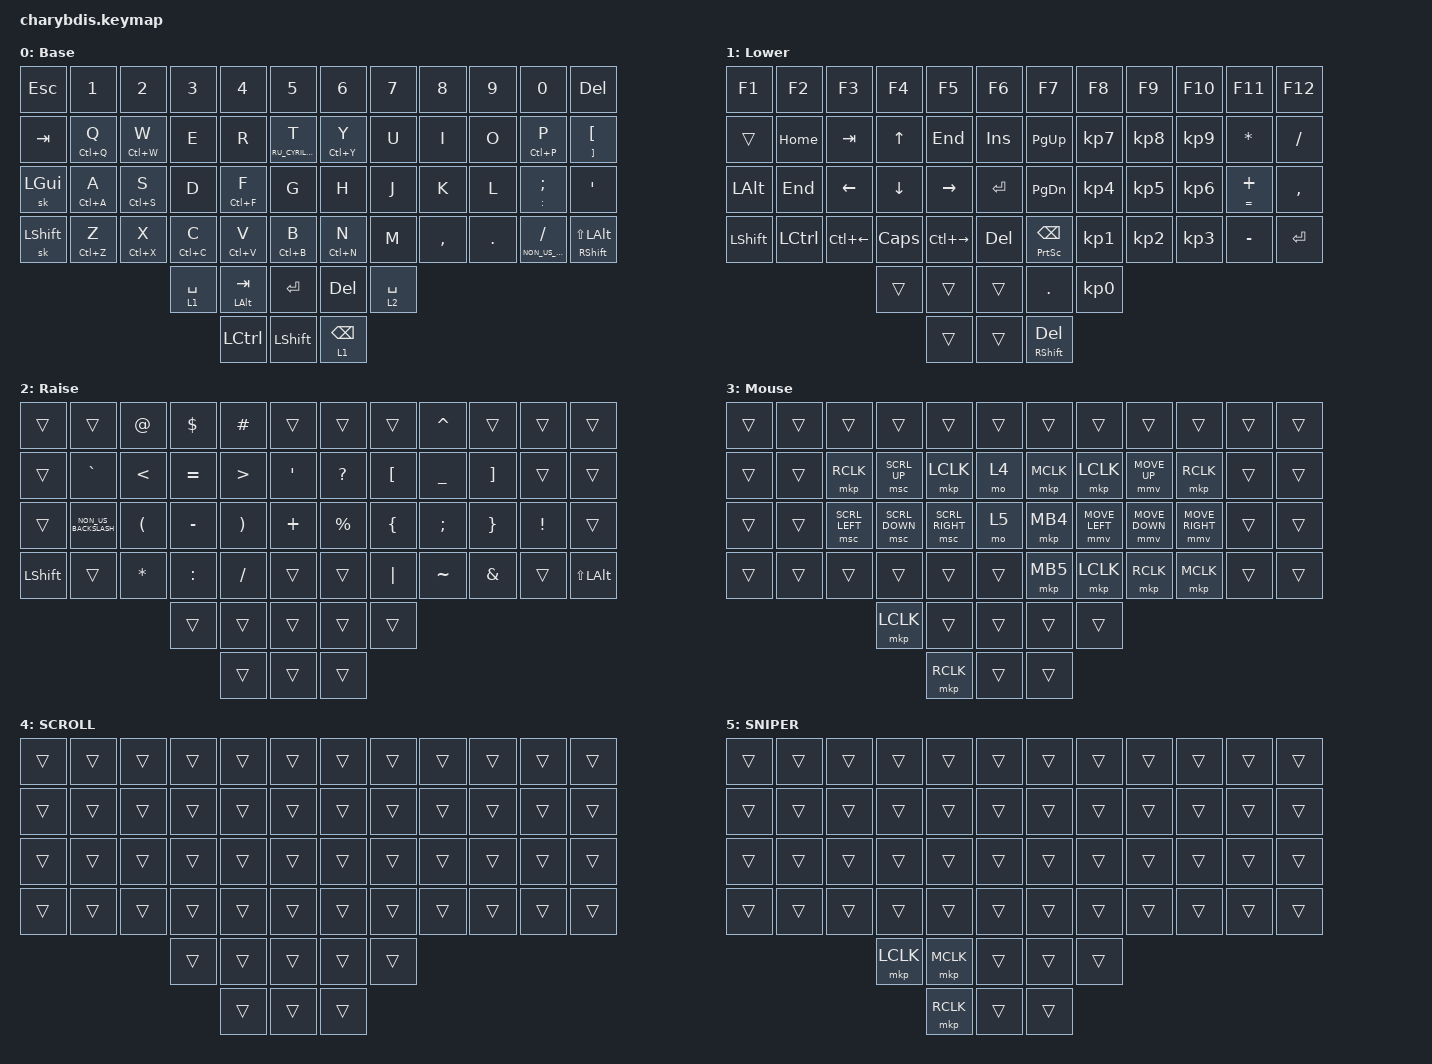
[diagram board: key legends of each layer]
#include "keys_ru.h"
#include <dt-bindings/zmk/mouse.h>
#include <behaviors/mouse_keys.dtsi>
#include <behaviors.dtsi>
#include <dt-bindings/zmk/keys.h>
#include <dt-bindings/zmk/pointing.h>

&mt {
    quick-tap-ms = <150>;
    tapping-term-ms = <250>;
    require-prior-idle-ms = <125>;
    flavor = "hold-preferred";
};

&lt {
    tapping-term-ms = <240>;
    quick-tap-ms = <150>;
};

/ {
    combos {
        compatible = "zmk,combos";

        bootloaderLeft {
            bindings = <&bootloader>;
            key-positions = <0 13>;
        };

        bootloaderRight {
            bindings = <&bootloader>;
            key-positions = <11 22>;
        };

        resetLeft {
            bindings = <&sys_reset>;
            key-positions = <0 12>;
        };

        resetRight {
            bindings = <&sys_reset>;
            key-positions = <11 23>;
        };
    };

    trackball_listener {
        compatible = "zmk,input-behavior-listener";
        device = <&vtrackball>;
        layers = <0 1 2 3>;
        evt-type = <INPUT_EV_REL>;
        x-input-code = <INPUT_REL_X>;
        y-input-code = <INPUT_REL_Y>;
        scale-multiplier = <1>;
        scale-divisor = <2>;
        bindings = <&ib_toggle_layer 3>;
    };

    ib_toggle_layer: ib_toggle_layer {
        compatible = "zmk,input-behavior-tog-layer";
        #binding-cells = <1>;
        time-to-live-ms = <2000>;
    };

    trackball_snipe_listener {
        compatible = "zmk,input-behavior-listener";
        device = <&vtrackball>;
        layers = <5>;
        evt-type = <INPUT_EV_REL>;
        x-input-code = <INPUT_REL_X>;
        y-input-code = <INPUT_REL_Y>;
        scale-multiplier = <1>;
        scale-divisor = <4>;
    };

    trackball_scroll_listener {
        compatible = "zmk,input-behavior-listener";
        device = <&vtrackball>;
        layers = <4>;
        evt-type = <INPUT_EV_REL>;
        x-input-code = <INPUT_REL_HWHEEL>;
        y-input-code = <INPUT_REL_WHEEL>;
        y-invert;
        bindings = <&ib_wheel_scaler 1 64>;
        bindings = <&ib_hwheel_scaler 1 64>;
    };

    ib_wheel_scaler: ib_wheel_scaler {
        compatible = "zmk,input-behavior-scaler";
        #binding-cells = <2>;
        evt-type = <INPUT_EV_REL>;
        input-code = <INPUT_REL_WHEEL>;
    };

    ib_hwheel_scaler: ib_hwheel_scaler {
        compatible = "zmk,input-behavior-scaler";
        #binding-cells = <2>;
        evt-type = <INPUT_EV_REL>;
        input-code = <INPUT_REL_HWHEEL>;
    };

    behaviors {
        hml: home_row_mod_left {
            compatible = "zmk,behavior-hold-tap";
            bindings = <&kp>, <&kp>;

            #binding-cells = <2>;
            tapping-term-ms = <280>;
            quick-tap-ms = <175>;
            require-prior-idle-ms = <150>;
            flavor = "tap-preferred";
            hold-trigger-on-release;
            hold-trigger-key-positions = <55 52 51 6 18 30 42 43 31 8 20 44 32 19 7 9 21 33 46 45 23 22 10 11 34 35 47>;
        };

        hmr: home_row_mode_right {
            compatible = "zmk,behavior-hold-tap";
            bindings = <&kp>, <&kp>;

            #binding-cells = <2>;
            tapping-term-ms = <280>;
            quick-tap-ms = <175>;
            require-prior-idle-ms = <150>;
            flavor = "tap-preferred";
            hold-trigger-on-release;
            hold-trigger-key-positions = <0 36 24 12 54 50 49 53 48 41 40 39 38 37 25 13 1 2 14 26 27 15 3 4 16 28 29 17 5>;
        };
    };

    keymap {
        compatible = "zmk,keymap";

        Base {
            label = "Base";
            display-name = "Base";
            bindings = <
&kp ESC       &kp N1        &kp N2        &kp N3        &kp N4             &kp N5                   &kp N6           &kp N7       &kp N8     &kp N9   &kp N0                      &kp DEL
&kp TAB       &hml LC(Q) Q  &hml LC(W) W  &kp E         &kp R              &hml RU_CYRILLIC_IO T    &hmr LC(Y) Y     &kp U        &kp I      &kp O    &hmr LC(P) P                &hmr RIGHT_BRACKET LEFT_BRACKET
&sk LEFT_GUI  &hml LC(A) A  &hml LC(S) S  &kp D         &hml LC(F) F       &kp G                    &kp H            &kp J        &kp K      &kp L    &hmr COLON SEMI             &kp APOS
&sk LSHFT     &hml LC(Z) Z  &hml LC(X) X  &hml LC(C) C  &hml LC(V) V       &hml LC(B) B             &hmr LC(N) N     &kp M        &kp COMMA  &kp DOT  &hmr NON_US_BACKSLASH FSLH  &hmr RSHIFT LS(LALT)
                                          &lt 1 SPACE   &hml LEFT_ALT TAB  &kp ENTER                &kp DELETE       &lt 2 SPACE
                                                        &kp LCTRL          &kp LEFT_SHIFT           &lt 1 BACKSPACE
            >;
        };

        Lower {
            label = "Lower";
            display-name = "Lower";
            bindings = <
&kp F1          &kp F2     &kp F3              &kp F4    &kp F5         &kp F6        &kp F7                      &kp F8           &kp F9           &kp F10          &kp F11          &kp F12
&trans          &kp HOME   &kp TAB             &kp UP    &kp END        &kp INSERT    &kp PAGE_UP                 &kp KP_NUMBER_7  &kp KP_NUMBER_8  &kp KP_NUMBER_9  &kp STAR         &kp SLASH
&kp LEFT_ALT    &kp END    &kp LEFT            &kp DOWN  &kp RIGHT      &kp ENTER     &kp PAGE_DOWN               &kp KP_NUMBER_4  &kp KP_NUMBER_5  &kp KP_NUMBER_6  &hmr EQUAL PLUS  &kp COMMA
&kp LEFT_SHIFT  &kp LCTRL  &kp LC(LEFT_ARROW)  &kp CAPS  &kp LC(RIGHT)  &kp DEL       &hmr PRINTSCREEN BACKSPACE  &kp KP_NUMBER_1  &kp KP_NUMBER_2  &kp KP_NUMBER_3  &kp MINUS        &kp ENTER
                                               &trans    &trans         &trans        &kp DOT                     &kp KP_NUMBER_0
                                                         &trans         &trans        &hmr RIGHT_SHIFT DELETE
            >;
        };

        Raise {
            label = "Raise";
            display-name = "Raise";
            bindings = <
&trans          &trans                &kp AT_SIGN           &kp DOLLAR  &kp POUND              &trans      &trans       &trans            &kp CARET       &trans             &trans           &trans
&trans          &kp GRAVE             &kp LESS_THAN         &kp EQUAL   &kp GREATER_THAN       &kp SQT     &kp QMARK    &kp LEFT_BRACKET  &kp UNDERSCORE  &kp RIGHT_BRACKET  &trans           &trans
&trans          &kp NON_US_BACKSLASH  &kp LEFT_PARENTHESIS  &kp MINUS   &kp RIGHT_PARENTHESIS  &kp PLUS    &kp PERCENT  &kp LEFT_BRACE    &kp SEMICOLON   &kp RIGHT_BRACE    &kp EXCLAMATION  &trans
&kp LEFT_SHIFT  &trans                &kp ASTERISK          &kp COLON   &kp SLASH              &trans      &trans       &kp PIPE          &kp TILDE       &kp AMPERSAND      &trans           &kp LS(LEFT_ALT)
                                                            &trans      &trans                 &trans      &trans       &trans
                                                                        &trans                 &trans      &trans
            >;
        };

        Mouse {
            display-name = "Mouse";
            bindings = <
&trans  &trans  &trans          &trans          &trans           &trans    &trans     &trans          &trans          &trans           &trans  &trans
&trans  &trans  &mkp RCLK       &msc SCRL_UP    &mkp LCLK        &mo 4     &mkp MCLK  &mkp LCLK       &mmv MOVE_UP    &mkp RCLK        &trans  &trans
&trans  &trans  &msc SCRL_LEFT  &msc SCRL_DOWN  &msc SCRL_RIGHT  &mo 5     &mkp MB4   &mmv MOVE_LEFT  &mmv MOVE_DOWN  &mmv MOVE_RIGHT  &trans  &trans
&trans  &trans  &trans          &trans          &trans           &trans    &mkp MB5   &mkp LCLK       &mkp RCLK       &mkp MCLK        &trans  &trans
                                &mkp LCLK       &trans           &trans    &trans     &trans
                                                &mkp RCLK        &trans    &trans
            >;
        };

        scroll_layer {
            bindings = <
&trans  &trans  &trans  &trans  &trans  &trans    &trans  &trans  &trans  &trans  &trans  &trans
&trans  &trans  &trans  &trans  &trans  &trans    &trans  &trans  &trans  &trans  &trans  &trans
&trans  &trans  &trans  &trans  &trans  &trans    &trans  &trans  &trans  &trans  &trans  &trans
&trans  &trans  &trans  &trans  &trans  &trans    &trans  &trans  &trans  &trans  &trans  &trans
                        &trans  &trans  &trans    &trans  &trans
                                &trans  &trans    &trans
            >;

            label = "SCROLL";
        };

        sniper_layer {
            bindings = <
&trans  &trans  &trans  &trans     &trans     &trans    &trans  &trans  &trans  &trans  &trans  &trans
&trans  &trans  &trans  &trans     &trans     &trans    &trans  &trans  &trans  &trans  &trans  &trans
&trans  &trans  &trans  &trans     &trans     &trans    &trans  &trans  &trans  &trans  &trans  &trans
&trans  &trans  &trans  &trans     &trans     &trans    &trans  &trans  &trans  &trans  &trans  &trans
                        &mkp LCLK  &mkp MCLK  &trans    &trans  &trans
                                   &mkp RCLK  &trans    &trans
            >;

            label = "SNIPER";
        };
    };
};
